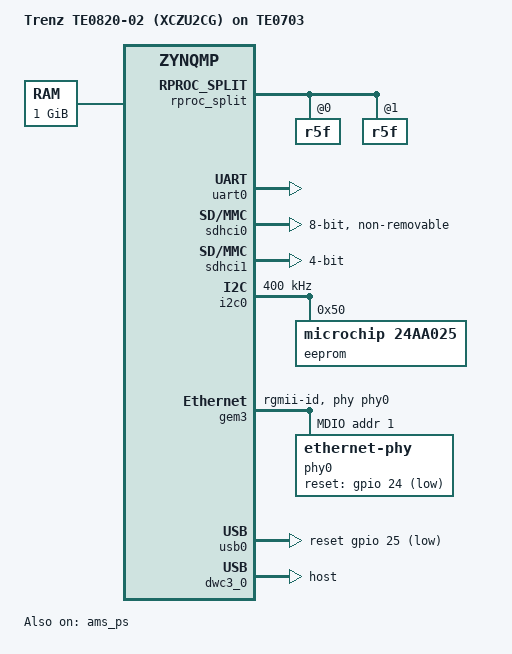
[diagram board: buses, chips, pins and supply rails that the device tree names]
// SPDX-License-Identifier: GPL-2.0
/*
 * Trenz TE0820-02 (XCZU2CG, 1 GiB DDR4) on a TE0703 carrier, PS only.
 *
 * One file for U-Boot (arch/arm/dts) and Linux (arch/arm64/boot/dts/xilinx):
 * both trees ship zynqmp.dtsi and zynqmp-clk-ccf.dtsi with the same labels.
 * The MIO pin muxing is done by psu_init in SPL (from the Trenz reference
 * design), so there are no pinctrl nodes here. Peripherals and pins, from the
 * reference design's TE0820_2CG_1E/1.0 (REV02) board preset:
 *
 *   MIO 13-22   SD0, eMMC 8 bit, 1.8 V (reset on MIO 23)
 *   MIO 24      Ethernet PHY reset (active low)
 *   MIO 25      USB3320 ULPI PHY reset (active low)
 *   MIO 30-31   UART0, console
 *   MIO 38-39   I2C0: Si5338 clock generator (0x70), MAC EEPROM (0x50)
 *   MIO 46-51   SD1, microSD 4 bit, 3.3 V (no card detect, no write protect)
 *   MIO 52-63   USB0 ULPI, USB 2.0 host
 *   MIO 64-77   GEM3 RGMII + MDIO, Marvell 88E151x PHY at address 1
 *
 * Not described: the dual-parallel QSPI flash (mainline spi-zynqmp-gqspi has
 * no parallel mode), I2C1 (EMIO, needs a bitstream) and the Si5338 outputs
 * (GT and PL reference clocks only; the PS does not use them).
 */

/dts-v1/;

#include "zynqmp.dtsi"
#include "zynqmp-clk-ccf.dtsi"
#include <dt-bindings/gpio/gpio.h>

/ {
	model = "Trenz TE0820-02 (XCZU2CG) on TE0703";
	compatible = "trenz,te0820", "xlnx,zynqmp";

	/*
	 * In Linux mmc0 is the microSD (boot and A/B disk), as on ax7015b: the
	 * slots are mmcblk0p2/p3. The eMMC is mmc1. U-Boot swaps the two
	 * (zynqmp-te0820-u-boot.dtsi): its SPL boots SD1 as mmc device 1.
	 */
	aliases {
		ethernet0 = &gem3;
		i2c0 = &i2c0;
		mmc0 = &sdhci1;
		mmc1 = &sdhci0;
		nvmem0 = &eeprom;
		serial0 = &uart0;
		usb0 = &usb0;
	};

	chosen {
		stdout-path = "serial0:115200n8";
	};

	/* REV02: 1 GiB (the 2 GiB REV03 psu_init addresses it unchanged). */
	memory@0 {
		device_type = "memory";
		reg = <0x0 0x0 0x0 0x40000000>;
	};

	/*
	 * rpmsg shared memory of the two R5s (RustAmp zynqmp-r5-echo), after
	 * their rproc_N_fw_image carve-outs from zynqmp.dtsi (resource table
	 * and trace buffer): two 16 KiB vrings and a buffer pool each. The
	 * firmware has the same addresses built in (board.rs); R5_1's pool is
	 * 512 KiB so both stay in the R5s' uncached window below 0x3f000000.
	 * remoteproc finds them by node name per core, so both cores' nodes
	 * are vdev0*.
	 */
	reserved-memory {
		rpu0vdev0vring0: vdev0vring0@3ed40000 {
			no-map;
			reg = <0x0 0x3ed40000 0x0 0x4000>;
		};

		rpu0vdev0vring1: vdev0vring1@3ed44000 {
			no-map;
			reg = <0x0 0x3ed44000 0x0 0x4000>;
		};

		rpu0vdev0buffer: vdev0buffer@3ed48000 {
			no-map;
			compatible = "shared-dma-pool";
			reg = <0x0 0x3ed48000 0x0 0x100000>;
		};

		rpu1vdev0vring0: vdev0vring0@3ef40000 {
			no-map;
			reg = <0x0 0x3ef40000 0x0 0x4000>;
		};

		rpu1vdev0vring1: vdev0vring1@3ef44000 {
			no-map;
			reg = <0x0 0x3ef44000 0x0 0x4000>;
		};

		rpu1vdev0buffer: vdev0buffer@3ef48000 {
			no-map;
			compatible = "shared-dma-pool";
			reg = <0x0 0x3ef48000 0x0 0x80000>;
		};
	};
};

/*
 * The R5 cluster in split mode, so both cores run firmware of their own
 * (xlnx_r5_remoteproc; zynqmp.dtsi enables lockstep by default). Each core
 * gets its carve-outs and the IPI mailbox to the APU (channel 0): R5_0 is
 * IPI channel 1, R5_1 channel 2. The message buffers follow the IPI buffer
 * layout (agent regions of 0x200 bytes: RPU0 0xff990000, RPU1 0xff990200,
 * APU 0xff990400; 0x40 per destination: RPU0 0, RPU1 1, APU 2), as for the
 * PMU mailbox in zynqmp.dtsi; the firmware itself only uses the doorbells.
 */
&rproc_lockstep {
	status = "disabled";
};

&rproc_split {
	status = "okay";

	r5f@0 {
		memory-region = <&rproc_0_fw_image>, <&rpu0vdev0vring0>,
				<&rpu0vdev0vring1>, <&rpu0vdev0buffer>;
		mboxes = <&ipi_mailbox_rpu0 0>, <&ipi_mailbox_rpu0 1>;
		mbox-names = "tx", "rx";
	};

	r5f@1 {
		memory-region = <&rproc_1_fw_image>, <&rpu1vdev0vring0>,
				<&rpu1vdev0vring1>, <&rpu1vdev0buffer>;
		mboxes = <&ipi_mailbox_rpu1 0>, <&ipi_mailbox_rpu1 1>;
		mbox-names = "tx", "rx";
	};
};

&zynqmp_ipi {
	ipi_mailbox_rpu0: mailbox@ff990400 {
		compatible = "xlnx,zynqmp-ipi-dest-mailbox";
		reg = <0x0 0xff990400 0x0 0x20>,
		      <0x0 0xff990420 0x0 0x20>,
		      <0x0 0xff990080 0x0 0x20>,
		      <0x0 0xff9900a0 0x0 0x20>;
		reg-names = "local_request_region",
			    "local_response_region",
			    "remote_request_region",
			    "remote_response_region";
		#mbox-cells = <1>;
		xlnx,ipi-id = <1>;
	};

	ipi_mailbox_rpu1: mailbox@ff990440 {
		compatible = "xlnx,zynqmp-ipi-dest-mailbox";
		reg = <0x0 0xff990440 0x0 0x20>,
		      <0x0 0xff990460 0x0 0x20>,
		      <0x0 0xff990280 0x0 0x20>,
		      <0x0 0xff9902a0 0x0 0x20>;
		reg-names = "local_request_region",
			    "local_response_region",
			    "remote_request_region",
			    "remote_response_region";
		#mbox-cells = <1>;
		xlnx,ipi-id = <2>;
	};
};

/*
 * The XCZU2CG has two Cortex-A53 cores; zynqmp.dtsi describes four. Drop
 * cpu2/cpu3 and everything that points at them (PSCI would otherwise try to
 * bring them up and fail).
 */
/delete-node/ &cpu2;
/delete-node/ &cpu3;
/delete-node/ &cpu2_debug;
/delete-node/ &cpu3_debug;

&{/pmu} {
	interrupts = <GIC_SPI 143 IRQ_TYPE_LEVEL_HIGH>,
		     <GIC_SPI 144 IRQ_TYPE_LEVEL_HIGH>;
	interrupt-affinity = <&cpu0>, <&cpu1>;
};

&{/thermal-zones/apu-thermal/cooling-maps/map} {
	cooling-device = <&cpu0 THERMAL_NO_LIMIT THERMAL_NO_LIMIT>,
			 <&cpu1 THERMAL_NO_LIMIT THERMAL_NO_LIMIT>;
};

&uart0 {
	status = "okay";
};

/*
 * System monitor, PS block (LPD/FPD temperatures and supplies): without it
 * xilinx-ams registers no channels and the APU/RPU thermal zones of
 * zynqmp.dtsi (channels 7 and 8) fail to probe. The PL block is only
 * accessible once the PL is configured, which this PS-only design never
 * does, so ams_pl stays disabled and the PL sensor and its thermal zone
 * (channel 20) are dropped.
 */
&ams_ps {
	status = "okay";
};

/* hwmon over the PS block's 20 channels only (zynqmp.dtsi lists PS + PL). */
&{/ams} {
	io-channels = <&xilinx_ams 0>, <&xilinx_ams 1>, <&xilinx_ams 2>,
		      <&xilinx_ams 3>, <&xilinx_ams 4>, <&xilinx_ams 5>,
		      <&xilinx_ams 6>, <&xilinx_ams 7>, <&xilinx_ams 8>,
		      <&xilinx_ams 9>, <&xilinx_ams 10>, <&xilinx_ams 11>,
		      <&xilinx_ams 12>, <&xilinx_ams 13>, <&xilinx_ams 14>,
		      <&xilinx_ams 15>, <&xilinx_ams 16>, <&xilinx_ams 17>,
		      <&xilinx_ams 18>, <&xilinx_ams 19>;
};

/ {
	/delete-node/ thermal-sensor-pl;

	thermal-zones {
		/delete-node/ pl-thermal;
	};
};

&gpio {
	status = "okay";
};

&sdhci0 {
	status = "okay";
	bus-width = <8>;
	non-removable;
	disable-wp;
	xlnx,mio-bank = <0>;
};

&sdhci1 {
	status = "okay";
	bus-width = <4>;
	no-1-8-v;
	broken-cd;
	disable-wp;
	xlnx,mio-bank = <1>;
};

&i2c0 {
	status = "okay";
	clock-frequency = <400000>;

	/* Factory MAC address at 0xfa (EUI-48). */
	eeprom: eeprom@50 {
		compatible = "microchip,24aa025", "atmel,24c02";
		reg = <0x50>;
		#address-cells = <1>;
		#size-cells = <1>;

		eth0_addr: mac-address@fa {
			reg = <0xfa 0x6>;
		};
	};
};

&gem3 {
	status = "okay";
	phy-handle = <&phy0>;
	phy-mode = "rgmii-id";
	nvmem-cells = <&eth0_addr>;
	nvmem-cell-names = "mac-address";

	mdio: mdio {
		#address-cells = <1>;
		#size-cells = <0>;

		phy0: ethernet-phy@1 {
			reg = <1>;
			reset-gpios = <&gpio 24 GPIO_ACTIVE_LOW>;
			reset-assert-us = <10000>;
			reset-deassert-us = <10000>;
		};
	};
};

/*
 * USB 2.0 only (ULPI, no GT lane). The glue pulses the ULPI PHY reset. Only
 * the bus clock, as in the Trenz device tree: zynqmp-clk-ccf.dtsi also
 * assigns USB3_DUAL_REF, which this design does not set up for USB 3.
 */
&usb0 {
	status = "okay";
	clock-names = "bus_clk";
	clocks = <&zynqmp_clk USB0_BUS_REF>;
	assigned-clocks = <&zynqmp_clk USB0_BUS_REF>;
	reset-gpios = <&gpio 25 GPIO_ACTIVE_LOW>;
};

&dwc3_0 {
	status = "okay";
	dr_mode = "host";
	maximum-speed = "high-speed";
};
